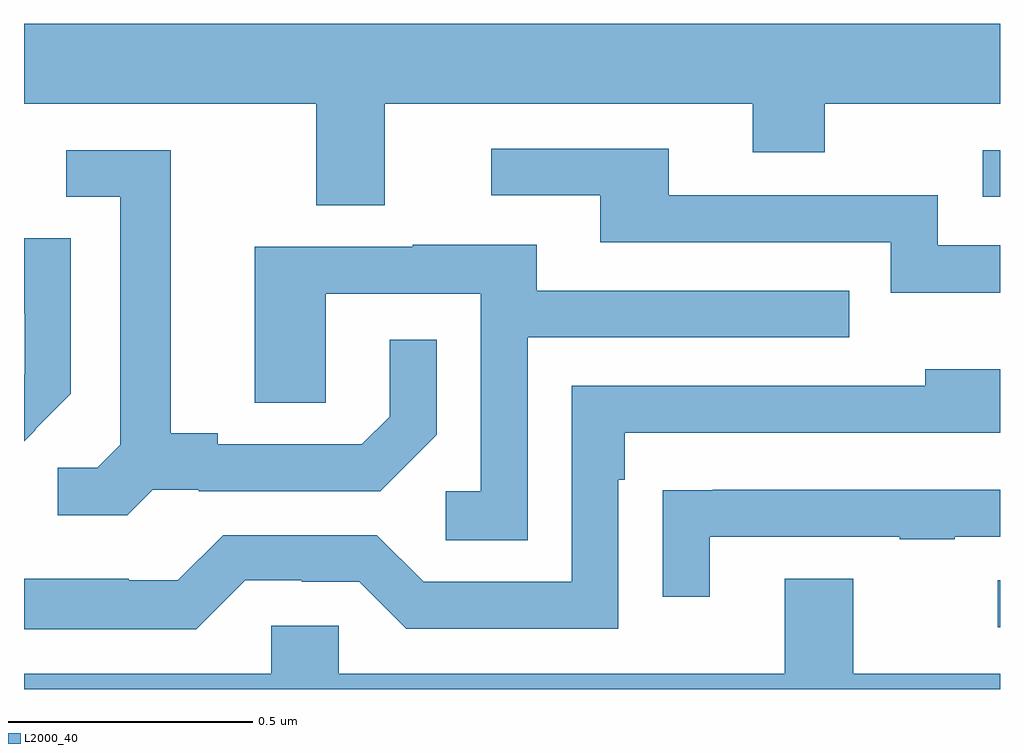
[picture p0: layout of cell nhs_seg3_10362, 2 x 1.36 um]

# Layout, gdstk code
import gdstk
lib = gdstk.Library(unit=1e-6, precision=1e-09)
def R(c, l, rs):  # rectangles x0, y0, x1, y1
    for r in rs: c.add(gdstk.rectangle(r[:2], r[2:], *l))
def P(c, l, *ps):  # polygons
    for p in ps: c.add(gdstk.Polygon(p, *l))
L2000_40 = (2000, 40)

nhs_seg3_10362 = lib.new_cell('nhs_seg3_10362')
R(nhs_seg3_10362, L2000_40, [(241.995,682.527,242,682.623), (241.965,683.409,242,683.505)])
P(nhs_seg3_10362, L2000_40, [(240.739,683.6),(241.493,683.6),(241.493,683.501),(241.641,683.501),(241.641,683.6),(242,683.6),(242,683.764),(240,683.764),(240,683.6),(240.599,683.6),(240.599,683.392),(240.739,683.392)],
  [(242,683.31),(241.872,683.31),(241.872,683.412),(241.321,683.412),(241.321,683.508),(240.957,683.508),(240.957,683.412),(241.181,683.412),(241.181,683.316),(241.776,683.316),(241.776,683.213),(242,683.213)],
  [(240.264,682.809),(240.358,682.809),(240.358,682.806),(240.73,682.806),(240.846,682.922),(240.846,683.116),(240.749,683.116),(240.749,682.959),(240.692,682.902),(240.397,682.902),(240.397,682.925),(240.301,682.925),(240.301,683.505),(240.087,683.505),(240.087,683.409),(240.197,683.409),(240.197,682.901),(240.15,682.854),(240.069,682.854),(240.069,682.757),(240.212,682.757)],
  [(240.024,682.932),(240.023,682.933),(240.096,683.006),(240.096,683.324),(240,683.324),(240,683.17),(240.002,683.17),(240.002,683.048),(240,683.046),(240,682.908)],
  [(241.032,683.121),(241.691,683.121),(241.691,683.217),(241.051,683.217),(241.051,683.311),(240.797,683.311),(240.797,683.307),(240.473,683.307),(240.473,682.987),(240.618,682.987),(240.618,683.211),(240.936,683.211),(240.936,682.806),(240.864,682.806),(240.864,682.705),(241.032,682.705)],
  [(240.453,682.623),(240.569,682.623),(240.569,682.62),(240.687,682.62),(240.783,682.524),(241.218,682.524),(241.218,682.829),(241.231,682.829),(241.231,682.926),(242,682.926),(242,683.056),(241.847,683.056),(241.847,683.022),(241.122,683.022),(241.122,682.62),(240.819,682.62),(240.723,682.716),(240.408,682.716),(240.315,682.623),(240.215,682.623),(240.215,682.627),(240,682.627),(240,682.523),(240.353,682.523)],
  [(241.405,682.713),(241.795,682.713),(241.795,682.708),(241.907,682.708),(241.907,682.713),(242,682.713),(242,682.809),(241.411,682.809),(241.411,682.808),(241.309,682.808),(241.309,682.59),(241.405,682.59)],
  [(242,682.432),(241.699,682.432),(241.699,682.627),(241.559,682.627),(241.559,682.432),(240.645,682.432),(240.645,682.53),(240.507,682.53),(240.507,682.432),(240,682.432),(240,682.4),(242,682.4)])

lib.write_gds('nhs_seg3_10362.gds')
